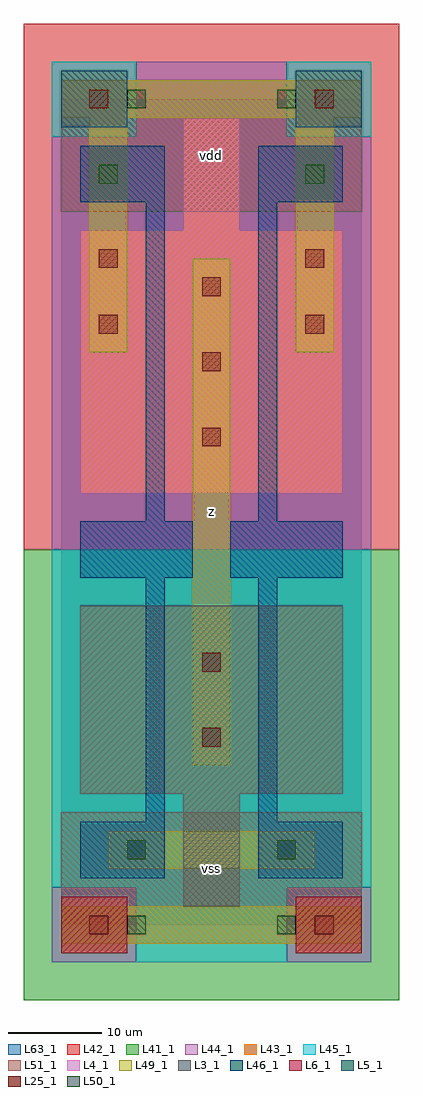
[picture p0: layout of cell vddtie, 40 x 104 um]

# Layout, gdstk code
import gdstk
lib = gdstk.Library(unit=1e-6, precision=1e-09)
def R(c, l, rs):  # rectangles x0, y0, x1, y1
    for r in rs: c.add(gdstk.rectangle(r[:2], r[2:], *l))
def A(c, l, x, y, w, h, nx, ny, dx, dy):  # array of equal rectangles
    R(c, l, [(x+i*dx, y+j*dy, x+i*dx+w, y+j*dy+h) for i in range(nx) for j in range(ny)])
L3_1 = (3, 1)
L4_1 = (4, 1)
L5_1 = (5, 1)
L6_1 = (6, 1)
L25_1 = (25, 1)
L41_1 = (41, 1)
L42_1 = (42, 1)
L43_1 = (43, 1)
L44_1 = (44, 1)
L45_1 = (45, 1)
L46_1 = (46, 1)
L49_1 = (49, 1)
L50_1 = (50, 1)
L51_1 = (51, 1)
L63_1 = (63, 1)

vddtie = lib.new_cell('vddtie')
R(vddtie, L3_1, [(13,2,19,14), (2,14,30,34)])
R(vddtie, L4_1, [(2,46,30,74), (13,74,19,86)])
R(vddtie, L5_1, [(0,85,7,91), (25,85,32,91)])
R(vddtie, L6_1, [(0,-3,7,3), (0,-3,7,3), (25,-3,32,3), (25,-3,32,3)])
A(vddtie, L25_1, 15, 51, 2, 2, 1, 3, 0, 8)
R(vddtie, L25_1, [(3,-1,5,1), (27,-1,29,1), (15,19,17,21), (15,27,17,29), (4,63,6,65), (26,63,28,65), (4,70,6,72), (26,70,28,72), (3,87,5,89), (27,87,29,89)])
R(vddtie, L41_1, [(-4,-8,36,40)])
R(vddtie, L42_1, [(-4,40,36,96)])
R(vddtie, L43_1, [(0,-3,7,3), (25,-3,32,3), (13,2,19,14), (2,14,30,34), (2,46,30,74), (13,74,19,86), (0,85,7,91), (25,85,32,91)])
R(vddtie, L44_1, [(-1,-4,8,4), (24,-4,33,4), (-1,40,33,84), (8,84,24,92)])
R(vddtie, L45_1, [(8,-4,24,4), (-1,4,33,40), (-1,84,8,92), (24,84,33,92)])
R(vddtie, L46_1, [(2,5,11,11), (21,5,30,11), (9,11,11,37), (21,11,23,37), (2,37,14,43), (18,37,30,43), (9,43,11,77), (21,43,23,77), (2,77,11,83), (21,77,30,83)])
R(vddtie, L49_1, [(0,-2,32,2), (5,6,27,10), (14,17,18,71), (3,61,7,86), (25,61,29,86), (0,86,32,90)])
R(vddtie, L50_1, [(7,-1,9,1), (23,-1,25,1), (7,7,9,9), (23,7,25,9), (4,79,6,81), (26,79,28,81), (7,87,9,89), (23,87,25,89)])
R(vddtie, L51_1, [(0,-2,32,12), (0,76,32,90)])
R(vddtie, L63_1, [(0,0,32,88)])
vddtie.add(gdstk.Label('z', (16,44), layer=49, texttype=1))
vddtie.add(gdstk.Label('vss', (16,6), layer=51, texttype=1))
vddtie.add(gdstk.Label('vdd', (16,82), layer=51, texttype=1))

lib.write_gds('vddtie.gds')
